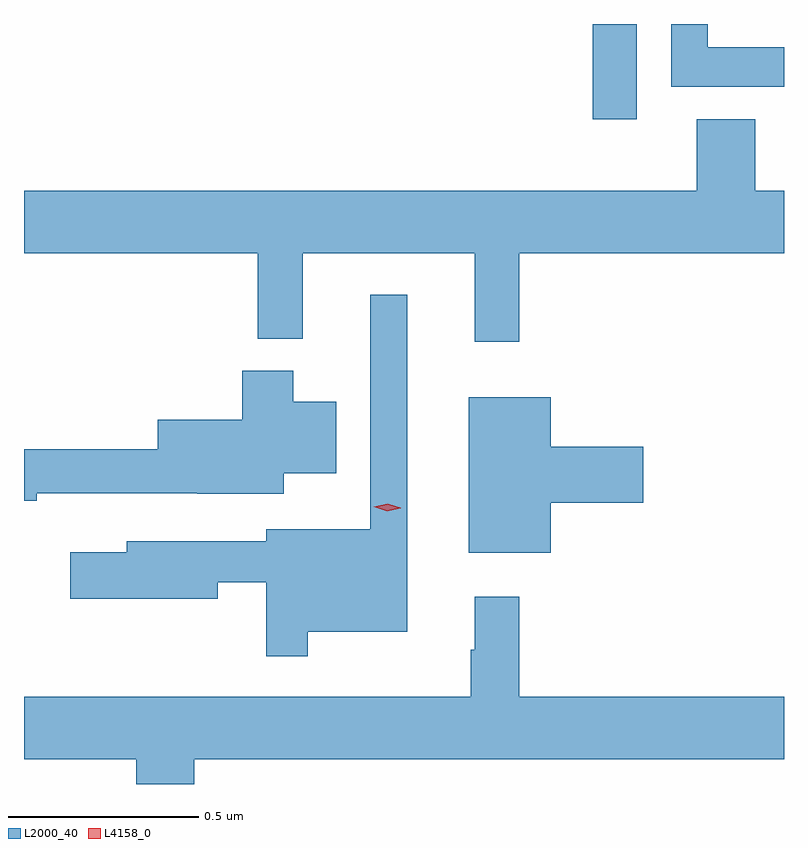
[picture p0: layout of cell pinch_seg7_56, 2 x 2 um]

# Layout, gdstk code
import gdstk
lib = gdstk.Library(unit=1e-6, precision=1e-09)
def R(c, l, rs):  # rectangles x0, y0, x1, y1
    for r in rs: c.add(gdstk.rectangle(r[:2], r[2:], *l))
def P(c, l, *ps):  # polygons
    for p in ps: c.add(gdstk.Polygon(p, *l))
L2000_40 = (2000, 40)
L4158_0 = (4158, 0)

pinch_seg7_56 = lib.new_cell('pinch_seg7_56')
R(pinch_seg7_56, L2000_40, [(974.347,1070.232,974.463,1070.483)])
P(pinch_seg7_56, L2000_40, [(974.85,1070.422),(974.649,1070.422),(974.649,1070.483),(974.553,1070.483),(974.553,1070.318),(974.85,1070.318)],
  [(974.153,1069.88),(974.85,1069.88),(974.85,1070.044),(974.774,1070.044),(974.774,1070.233),(974.621,1070.233),(974.621,1070.044),(972.85,1070.044),(972.85,1069.88),(973.465,1069.88),(973.465,1069.655),(973.583,1069.655),(973.583,1069.88),(974.036,1069.88),(974.036,1069.647),(974.153,1069.647)],
  [(973.597,1068.884),(973.858,1068.884),(973.858,1069.771),(973.761,1069.771),(973.761,1069.153),(973.487,1069.153),(973.487,1069.122),(973.121,1069.122),(973.121,1069.093),(972.972,1069.093),(972.972,1068.971),(973.36,1068.971),(973.36,1069.014),(973.488,1069.014),(973.488,1068.819),(973.597,1068.819)],
  [(972.884,1069.248),(973.306,1069.248),(973.306,1069.247),(973.534,1069.247),(973.534,1069.301),(973.672,1069.301),(973.672,1069.489),(973.558,1069.489),(973.558,1069.57),(973.424,1069.57),(973.424,1069.441),(973.202,1069.441),(973.202,1069.364),(972.85,1069.364),(972.85,1069.228),(972.884,1069.228)],
  [(974.236,1069.223),(974.479,1069.223),(974.479,1069.37),(974.236,1069.37),(974.236,1069.501),(974.021,1069.501),(974.021,1069.091),(974.236,1069.091)],
  [(973.298,1068.548),(974.85,1068.548),(974.85,1068.712),(974.153,1068.712),(974.153,1068.976),(974.036,1068.976),(974.036,1068.836),(974.025,1068.836),(974.025,1068.712),(972.85,1068.712),(972.85,1068.548),(973.145,1068.548),(973.145,1068.483),(973.298,1068.483)])
P(pinch_seg7_56, L4158_0, [(973.806,1069.201),(973.771,1069.213),(973.771,1069.213),(973.771,1069.213),(973.807,1069.221),(973.842,1069.21),(973.842,1069.21),(973.842,1069.209)])

lib.write_gds('pinch_seg7_56.gds')
